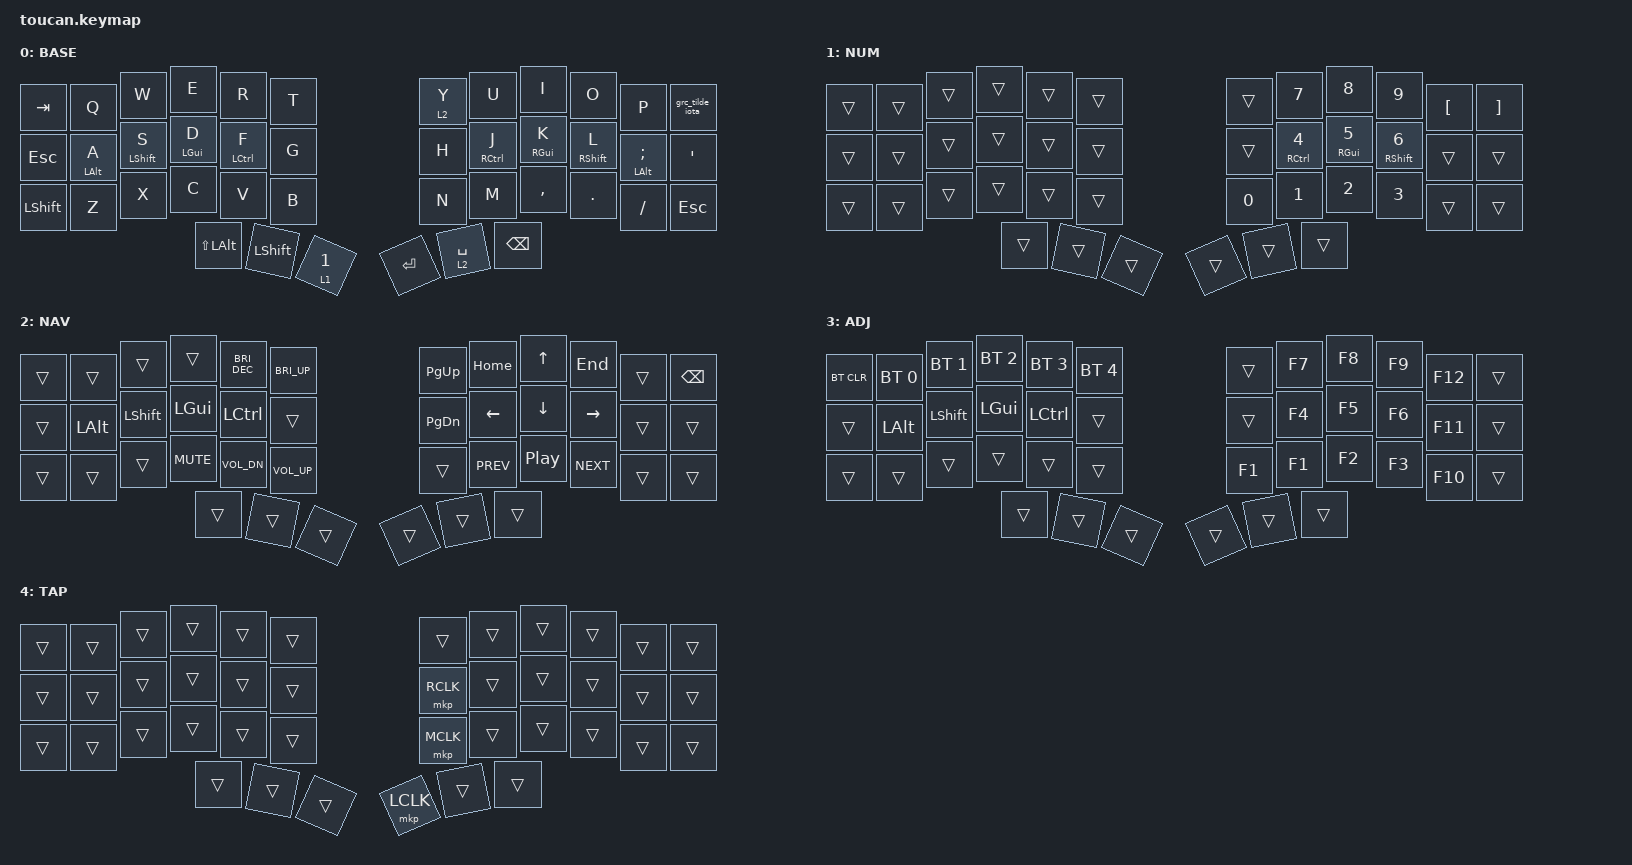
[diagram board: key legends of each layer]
#include <behaviors.dtsi>
#include <dt-bindings/zmk/bt.h>
#include <dt-bindings/zmk/keys.h>
#include <dt-bindings/zmk/pointing.h>

#define BASE 0
#define NAV  1
#define SYM  2
#define ADJ  3

/ {
    conditional_layers {
        compatible = "zmk,conditional-layers";

        tri_layer {
            if-layers = <2 1>;
            then-layer = <3>;
        };
    };

    behaviors {
        lt_balanced: lt_balanced {
            compatible = "zmk,behavior-hold-tap";
            label = "LT_BALANCED";
            bindings = <&mo>, <&kp>;

            #binding-cells = <2>;
            tapping-term-ms = <200>;
            flavor = "balanced";
            quick-tap-ms = <175>;
            require-prior-idle-ms = <150>;
        };

        hrm_left: hrm_left {
            compatible = "zmk,behavior-hold-tap";
            label = "HRM_LEFT";
            bindings = <&kp>, <&kp>;

            #binding-cells = <2>;
            tapping-term-ms = <280>;
            quick-tap-ms = <175>;
            require-prior-idle-ms = <150>;
            flavor = "balanced";
            hold-trigger-on-release;
            hold-trigger-key-positions = <36 37 38 39 40 41 6 7 8 9 10 11 18 19 20 21 22 23 30 31 32 33 34 35 40 41>;
        };

        hrm_right: hrm_right {
            compatible = "zmk,behavior-hold-tap";
            label = "HRM_RIGHT";
            bindings = <&kp>, <&kp>;

            #binding-cells = <2>;
            tapping-term-ms = <280>;
            quick-tap-ms = <175>;
            require-prior-idle-ms = <150>;
            flavor = "balanced";
            hold-trigger-key-positions = <0 1 2 3 4 5 12 13 14 15 16 17 24 25 26 27 28 29 36 37 38 39 40 41>;
            hold-trigger-on-release;
        };

        num_word: num_word {
            compatible = "zmk,behavior-auto-layer";
            #binding-cells = <1>;
            continue-list = <BACKSPACE DELETE DOT COMMA PLUS MINUS STAR FSLH EQUAL RGUI RCTRL RSHIFT>; // needed because HRMs have hold-while-undecided
            ignore-numbers;
        };

        smart_num: smart_num {
            compatible = "zmk,behavior-hold-tap";
            label = "SMART_NUM";
            bindings = <&mo>, <&num_word>;

            #binding-cells = <2>;
            tapping-term-ms = <200>;
            flavor = "balanced";
            quick-tap-ms = <175>;
        };

        smart_mouse: smart_mouse {
            compatible = "zmk,behavior-auto-layer";
            #binding-cells = <1>;
            continue-list = <LCLK RCLK MCLK>;
            ignore-modifiers;
        };

        lt_tap_preferred: lt_tap_preferred {
            compatible = "zmk,behavior-hold-tap";
            label = "LT_TAP_PREFERRED";
            bindings = <&mo>, <&kp>;

            #binding-cells = <2>;
            tapping-term-ms = <280>;
            quick-tap-ms = <175>;
            require-prior-idle-ms = <150>;
            flavor = "tap-preferred";
        };

        left_click_or_ctrl_click_ht: left_click_or_ctrl_click_ht {
            compatible = "zmk,behavior-hold-tap";
            label = "LEFT_CLICK_OR_CTRL_CLICK_HT";
            bindings = <&ctrl_left_click>, <&mkp>;

            #binding-cells = <2>;
            tapping-term-ms = <200>;
            flavor = "tap-preferred";
            quick-tap-ms = <500>;
        };

        hrm_left_no_hold_undecided: hrm_left_no_hold_undecided {
            compatible = "zmk,behavior-hold-tap";
            label = "HRM_LEFT_NO_HOLD_UNDECIDED";
            bindings = <&kp>, <&kp>;

            #binding-cells = <2>;
            tapping-term-ms = <280>;
            quick-tap-ms = <175>;
            require-prior-idle-ms = <150>;
            flavor = "balanced";
            hold-trigger-on-release;
            hold-trigger-key-positions = <36 37 38 39 40 41 6 7 8 9 10 11 18 19 20 21 22 23 30 31 32 33 34 35 40 41>;
        };

        hrm_right_no_hold_undecided: hrm_right_no_hold_undecided {
            compatible = "zmk,behavior-hold-tap";
            label = "HRM_RIGHT_NO_HOLD_UNDECIDED";
            bindings = <&kp>, <&kp>;

            #binding-cells = <2>;
            tapping-term-ms = <280>;
            quick-tap-ms = <175>;
            require-prior-idle-ms = <150>;
            flavor = "balanced";
            hold-trigger-key-positions = <0 1 2 3 4 5 12 13 14 15 16 17 24 25 26 27 28 29 36 37 38 39 40 41>;
            hold-trigger-on-release;
        };

        grc_tilde_iota: grc_tilde_iota {
            compatible = "zmk,behavior-mod-morph";
            label = "GRC_TILDE_IOTA";
            bindings = <&kp LEFT_BRACKET>, <&kp RIGHT_BRACKET>;

            #binding-cells = <0>;
            mods = <(MOD_LSFT|MOD_RSFT)>;
        };
    };

    combos {
        compatible = "zmk,combos";

        excl {
            bindings = <&kp EXCL>;
            key-positions = <1 13>;
            timeout-ms = <30>;
            require-prior-idle-ms = <50>;
        };

        at {
            bindings = <&kp AT_SIGN>;
            key-positions = <2 14>;
            timeout-ms = <30>;
            require-prior-idle-ms = <50>;
        };

        hash {
            bindings = <&kp HASH>;
            key-positions = <3 15>;
            timeout-ms = <30>;
            require-prior-idle-ms = <50>;
        };

        dollar {
            bindings = <&kp DOLLAR>;
            key-positions = <4 16>;
            timeout-ms = <30>;
            require-prior-idle-ms = <50>;
        };

        percent {
            bindings = <&kp PERCENT>;
            key-positions = <17 5>;
            timeout-ms = <30>;
            require-prior-idle-ms = <50>;
        };

        caret {
            bindings = <&kp CARET>;
            key-positions = <6 18>;
            timeout-ms = <30>;
            require-prior-idle-ms = <50>;
        };

        plus {
            bindings = <&kp PLUS>;
            key-positions = <7 19>;
            timeout-ms = <30>;
            require-prior-idle-ms = <50>;
        };

        star {
            bindings = <&kp STAR>;
            key-positions = <8 20>;
            timeout-ms = <30>;
            require-prior-idle-ms = <50>;
        };

        ampersand {
            bindings = <&kp AMPERSAND>;
            key-positions = <9 21>;
            timeout-ms = <30>;
            require-prior-idle-ms = <50>;
        };

        lparen {
            bindings = <&hrm_right RG(RCTRL) LEFT_PARENTHESIS>;
            key-positions = <19 20>;
            timeout-ms = <18>;
            require-prior-idle-ms = <150>;
        };

        rparen {
            bindings = <&hrm_right RG(RSHIFT) RPAR>;
            key-positions = <21 20>;
            timeout-ms = <18>;
            require-prior-idle-ms = <150>;
        };

        underscore {
            bindings = <&kp UNDERSCORE>;
            key-positions = <30 18>;
            timeout-ms = <30>;
            require-prior-idle-ms = <50>;
        };

        minus {
            bindings = <&kp MINUS>;
            key-positions = <19 31>;
            timeout-ms = <30>;
            require-prior-idle-ms = <50>;
        };

        lbracket_brace {
            bindings = <&kp LEFT_BRACKET>;
            key-positions = <31 32>;
            timeout-ms = <18>;
            require-prior-idle-ms = <150>;
        };

        rbracket_brace {
            bindings = <&kp RIGHT_BRACKET>;
            key-positions = <32 33>;
            timeout-ms = <18>;
            require-prior-idle-ms = <150>;
        };

        slash {
            bindings = <&kp SLASH>;
            key-positions = <20 32>;
            timeout-ms = <30>;
            require-prior-idle-ms = <50>;
        };

        pipe {
            bindings = <&kp PIPE>;
            key-positions = <21 33>;
            timeout-ms = <30>;
            require-prior-idle-ms = <50>;
        };

        backslash {
            bindings = <&kp BACKSLASH>;
            key-positions = <22 34>;
            timeout-ms = <30>;
            require-prior-idle-ms = <50>;
        };

        equals {
            bindings = <&kp EQUAL>;
            key-positions = <16 28>;
            timeout-ms = <30>;
            require-prior-idle-ms = <50>;
        };

        tilde {
            bindings = <&kp TILDE>;
            key-positions = <17 29>;
            timeout-ms = <30>;
            require-prior-idle-ms = <50>;
        };

        grave {
            bindings = <&kp GRAVE>;
            key-positions = <14 26>;
            timeout-ms = <30>;
            require-prior-idle-ms = <50>;
        };

        tab {
            bindings = <&hrm_left LS(LGUI) TAB>;
            key-positions = <14 15>;
            timeout-ms = <18>;
            require-prior-idle-ms = <150>;
        };

        esc {
            bindings = <&kp ESCAPE>;
            key-positions = <3 2>;
            timeout-ms = <18>;
            require-prior-idle-ms = <150>;
        };

        copy {
            bindings = <&kp C_AC_COPY>;
            key-positions = <26 27>;
            timeout-ms = <18>;
            require-prior-idle-ms = <150>;
        };

        paste {
            bindings = <&kp C_AC_PASTE>;
            key-positions = <27 28>;
            timeout-ms = <18>;
            require-prior-idle-ms = <150>;
        };

        backspace {
            bindings = <&kp BACKSPACE>;
            key-positions = <8 9>;
            timeout-ms = <18>;
            require-prior-idle-ms = <150>;
        };

        delete {
            bindings = <&kp DELETE>;
            key-positions = <7 8>;
            timeout-ms = <18>;
            require-prior-idle-ms = <150>;
        };

        mouse {
            bindings = <&smart_mouse 4>;
            key-positions = <7 6>;
            timeout-ms = <18>;
            require-prior-idle-ms = <150>;
        };
    };

    macros {
        ctrl_left_click: ctrl_left_click {
            compatible = "zmk,behavior-macro";
            #binding-cells = <0>;
            bindings =
                <&macro_press>,
                <&kp LCTRL>,
                <&macro_tap>,
                <&mkp MB1>,
                <&macro_release>,
                <&kp LCTRL>;

            label = "CTRL_LEFT_CLICK";
        };
    };

    keymap {
        compatible = "zmk,keymap";

        base {
            display-name = "BASE";
            bindings = <
&kp TAB  &kp Q  &kp W  &kp E  &kp R  &kp T  &lt_tap_preferred 2 Y  &kp U  &kp I  &kp O  &kp P  &grc_tilde_iota  &kp ESCAPE  &hrm_left_no_hold_undecided LALT A  &hrm_left LSHIFT S  &hrm_left LGUI D  &hrm_left LCTRL F  &kp G  &kp H  &hrm_right RCTRL J  &hrm_right RGUI K  &hrm_right RIGHT_SHIFT L  &hrm_right_no_hold_undecided LEFT_ALT SEMI  &kp SQT  &kp LSHFT  &kp Z  &kp X  &kp C  &kp V  &kp B  &kp N  &kp M  &kp COMMA  &kp DOT  &kp FSLH  &kp ESC  &kp LS(LEFT_ALT)  &kp LEFT_SHIFT  &smart_num 1 1  &kp RET  &lt_balanced 2 SPACE  &kp BACKSPACE
            >;
        };

        num {
            display-name = "NUM";
            bindings = <
&trans  &trans  &trans  &trans  &trans  &trans  &trans  &kp N7  &kp N8  &kp N9  &kp LEFT_BRACKET  &kp RIGHT_BRACKET  &trans  &trans  &trans  &trans  &trans  &trans  &trans  &hrm_right RCTRL N4  &hrm_right RGUI N5  &hrm_right RSHIFT N6  &trans  &trans  &trans  &trans  &trans  &trans  &trans  &trans  &kp N0  &kp N1  &kp N2  &kp N3  &trans  &trans  &trans  &trans  &trans  &trans  &trans  &trans
            >;
        };

        nav {
            display-name = "NAV";
            bindings = <
&trans  &trans  &trans  &trans  &kp C_BRI_DEC  &kp C_BRI_UP  &kp PAGE_UP  &kp HOME  &kp UP_ARROW  &kp END  &trans  &kp BSPC  &trans  &kp LEFT_ALT  &kp LEFT_SHIFT  &kp LEFT_GUI  &kp LCTRL  &trans  &kp PAGE_DOWN  &kp LEFT  &kp DOWN  &kp RIGHT  &trans  &trans  &trans  &trans  &trans  &kp C_MUTE  &kp C_VOL_DN  &kp C_VOL_UP  &trans  &kp C_PREV  &kp C_PLAY_PAUSE  &kp C_NEXT  &trans  &trans  &trans  &trans  &trans  &trans  &trans  &trans
            >;
        };

        adj {
            display-name = "ADJ";
            bindings = <
&bt BT_CLR  &bt BT_SEL 0  &bt BT_SEL 1  &bt BT_SEL 2  &bt BT_SEL 3  &bt BT_SEL 4  &trans  &kp F7  &kp F8  &kp F9  &kp F12  &trans  &trans  &kp LALT  &kp LSHFT  &kp LGUI  &kp LCTRL  &trans  &trans  &kp F4  &kp F5  &kp F6  &kp F11  &trans  &trans  &trans  &trans  &trans  &trans  &trans  &kp F1  &kp F1  &kp F2  &kp F3  &kp F10  &trans  &trans  &trans  &trans  &trans  &trans  &trans
            >;
        };

        tap {
            bindings = <
&trans  &trans  &trans  &trans  &trans  &trans  &trans  &trans  &trans  &trans  &trans  &trans  &trans  &trans  &trans  &trans  &trans  &trans  &mkp RCLK  &trans  &trans  &trans  &trans  &trans  &trans  &trans  &trans  &trans  &trans  &trans  &mkp MCLK  &trans  &trans  &trans  &trans  &trans  &trans  &trans  &trans  &mkp LCLK  &trans  &trans
            >;

            label = "TAP";
        };
    };
};
